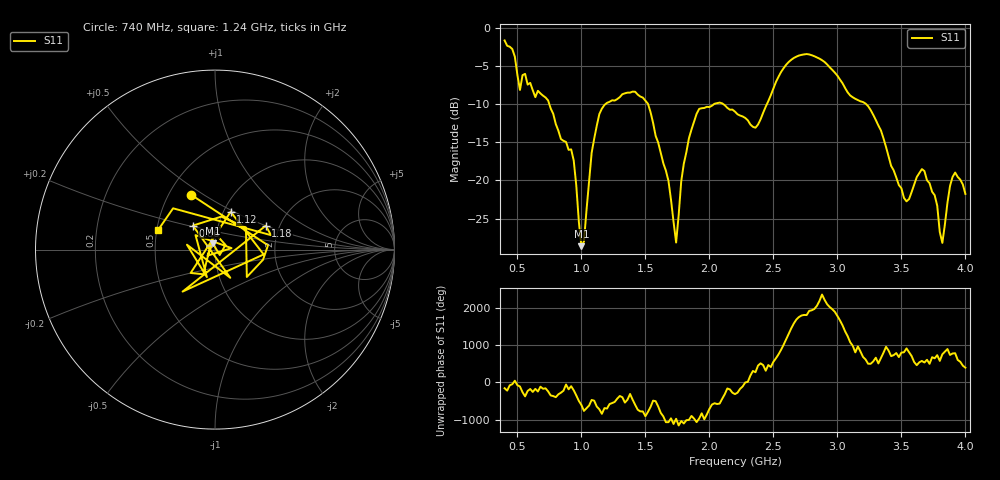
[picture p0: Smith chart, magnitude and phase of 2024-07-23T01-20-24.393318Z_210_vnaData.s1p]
!Created with skrf (http://scikit-rf.org).
# Hz S RI R 50.0
!freq ReS11 ImS11
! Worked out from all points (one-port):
!   181 points, 400 MHz to 4 GHz, reference 50 ohm
!   lowest |S11| = -28.6 dB at 1 GHz (marker M1), VSWR 1.08, Z = 48.7 + j3.41 ohm
!   |S11| at or under -10 dB: 749.3 MHz to 1.188 GHz (438.3 MHz wide, 45.3 % of centre); 1.521 GHz to 2.036 GHz (514.8 MHz wide, 28.9 % of centre); 3.225 GHz to end of sweep (the widest 3 of 4)
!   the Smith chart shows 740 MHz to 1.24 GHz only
!   S11 on the Smith chart (normalised r, x): 740 MHz: 0.64, +0.44; 860 MHz: 0.76, +0.21; 1.12 GHz: 1.08, +0.48; 1.18 GHz: 1.70, +0.50; 1.24 GHz: 0.51, +0.13
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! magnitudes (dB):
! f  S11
! 400 MHz  -1.7
! 520 MHz  -8.1
! 560 MHz  -6.0
! 740 MHz  -9.5
! 860 MHz  -14.8
! 940 MHz  -17.4
! 1 GHz  -28.6
! 1.12 GHz  -12.8
! 1.18 GHz  -10.1
! 1.24 GHz  -9.5
! 1.3 GHz  -9.1
! 1.52 GHz  -9.9
! 1.68 GHz  -20.0
! 1.74 GHz  -28.1
! 1.76 GHz  -24.5
! 1.8 GHz  -17.8
! 1.92 GHz  -10.6
! 2.2 GHz  -11.0
! 2.36 GHz  -13.1
! 2.66 GHz  -3.9
! 3.1 GHz  -8.9
! 3.26 GHz  -10.8
! 3.56 GHz  -22.4
! 3.68 GHz  -18.8
! 3.76 GHz  -21.9
! 3.82 GHz  -28.2
! 3.9 GHz  -19.5
! 4 GHz  -21.8
